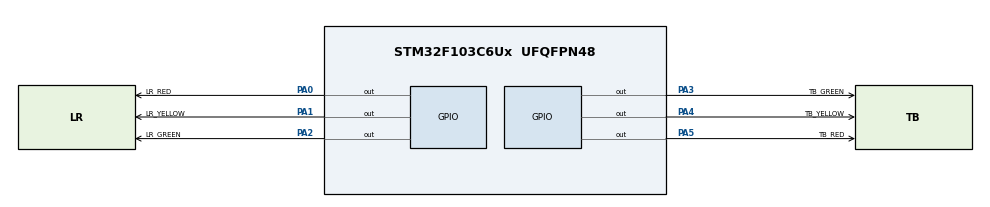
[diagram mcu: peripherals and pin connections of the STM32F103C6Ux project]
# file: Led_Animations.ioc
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Mcu.Family=STM32F1
Mcu.Name=STM32F103C6Ux
Mcu.Package=UFQFPN48
NVIC.PriorityGroup=NVIC_PRIORITYGROUP_4
PA0-WKUP.GPIO_Label=LR_RED
PA0-WKUP.Signal=GPIO_Output
PA1.GPIO_Label=LR_YELLOW
PA1.Signal=GPIO_Output
PA2.GPIO_Label=LR_GREEN
PA2.Signal=GPIO_Output
PA3.GPIO_Label=TB_GREEN
PA3.Signal=GPIO_Output
PA4.GPIO_Label=TB_YELLOW
PA4.Signal=GPIO_Output
PA5.GPIO_Label=TB_RED
PA5.Signal=GPIO_Output
ProjectManager.HeapSize=0x200
ProjectManager.StackSize=0x400
ProjectManager.TargetToolchain=STM32CubeIDE
RCC.APB1Freq_Value=8000000
RCC.APB2Freq_Value=8000000
VP_SYS_VS_ND.Mode=No_Debug
board=custom

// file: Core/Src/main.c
/* USER CODE BEGIN Header */
/**
  ******************************************************************************
  * @file           : main.c
  * @brief          : Main program body - Lab 01 Ex 3 (GPIOA Traffic Light)
  ******************************************************************************
  * @attention
  *
  * <h2><center>&copy; Copyright (c) 2026 STMicroelectronics.
  * All rights reserved.</center></h2>
  *
  ******************************************************************************
  */
/* USER CODE END Header */
#include "main.h"

void SystemClock_Config(void);
static void MX_GPIO_Init(void);

int main(void)
{
  /* MCU Configuration--------------------------------------------------------*/

  /* Reset of all peripherals, Initializes the Flash interface and the Systick. */
  HAL_Init();

  /* Configure the system clock */
  SystemClock_Config();

  /* Initialize all configured peripherals */
  MX_GPIO_Init();

  /* Infinite loop */
  /* USER CODE BEGIN WHILE */
  while (1)
  {
      /* --------------------------------------------------------------------
       * Pha 1: TRÁI/PHẢI XANH (PA2)  ---  TRÊN/DƯỚI ĐỎ (PA5) - (5 giây)
       * -------------------------------------------------------------------- */
      // Tắt hết cả 6 chân từ PA0 -> PA5
      HAL_GPIO_WritePin(GPIOA, GPIO_PIN_0 | GPIO_PIN_1 | GPIO_PIN_2 |
                               GPIO_PIN_3 | GPIO_PIN_4 | GPIO_PIN_5, GPIO_PIN_RESET);

      // Bật GREEN Trái/Phải (PA2) VÀ RED Trên/Dưới (PA5)
      HAL_GPIO_WritePin(GPIOA, GPIO_PIN_2 | GPIO_PIN_5, GPIO_PIN_SET);
      HAL_Delay(5000);

      /* --------------------------------------------------------------------
       * Pha 2: TRÁI/PHẢI VÀNG (PA1)  ---  TRÊN/DƯỚI ĐỎ (PA5) - (2 giây)
       * -------------------------------------------------------------------- */
      HAL_GPIO_WritePin(GPIOA, GPIO_PIN_0 | GPIO_PIN_1 | GPIO_PIN_2 |
                               GPIO_PIN_3 | GPIO_PIN_4 | GPIO_PIN_5, GPIO_PIN_RESET);

      // Bật YELLOW Trái/Phải (PA1) VÀ RED Trên/Dưới (PA5)
      HAL_GPIO_WritePin(GPIOA, GPIO_PIN_1 | GPIO_PIN_5, GPIO_PIN_SET);
      HAL_Delay(2000);

      /* --------------------------------------------------------------------
       * Pha 3: TRÁI/PHẢI ĐỎ (PA0)  ---  TRÊN/DƯỚI XANH (PA3) - (5 giây)
       * -------------------------------------------------------------------- */
      HAL_GPIO_WritePin(GPIOA, GPIO_PIN_0 | GPIO_PIN_1 | GPIO_PIN_2 |
                               GPIO_PIN_3 | GPIO_PIN_4 | GPIO_PIN_5, GPIO_PIN_RESET);

      // Bật RED Trái/Phải (PA0) VÀ GREEN Trên/Dưới (PA3)
      HAL_GPIO_WritePin(GPIOA, GPIO_PIN_0 | GPIO_PIN_3, GPIO_PIN_SET);
      HAL_Delay(5000);

      /* --------------------------------------------------------------------
       * Pha 4: TRÁI/PHẢI ĐỎ (PA0)  ---  TRÊN/DƯỚI VÀNG (PA4) - (2 giây)
       * -------------------------------------------------------------------- */
      HAL_GPIO_WritePin(GPIOA, GPIO_PIN_0 | GPIO_PIN_1 | GPIO_PIN_2 |
                               GPIO_PIN_3 | GPIO_PIN_4 | GPIO_PIN_5, GPIO_PIN_RESET);

      // Bật RED Trái/Phải (PA0) VÀ YELLOW Trên/Dưới (PA4)
      HAL_GPIO_WritePin(GPIOA, GPIO_PIN_0 | GPIO_PIN_4, GPIO_PIN_SET);
      HAL_Delay(2000);

    /* USER CODE END WHILE */

  }
}

void SystemClock_Config(void)
{
  RCC_OscInitTypeDef RCC_OscInitStruct = {0};
  RCC_ClkInitTypeDef RCC_ClkInitStruct = {0};

  RCC_OscInitStruct.OscillatorType = RCC_OSCILLATORTYPE_HSI;
  RCC_OscInitStruct.HSIState = RCC_HSI_ON;
  RCC_OscInitStruct.HSICalibrationValue = RCC_HSICALIBRATION_DEFAULT;
  RCC_OscInitStruct.PLL.PLLState = RCC_PLL_NONE;
  if (HAL_RCC_OscConfig(&RCC_OscInitStruct) != HAL_OK)
  {
    Error_Handler();
  }

  RCC_ClkInitStruct.ClockType = RCC_CLOCKTYPE_HCLK|RCC_CLOCKTYPE_SYSCLK
                              |RCC_CLOCKTYPE_PCLK1|RCC_CLOCKTYPE_PCLK2;
  RCC_ClkInitStruct.SYSCLKSource = RCC_SYSCLKSOURCE_HSI;
  RCC_ClkInitStruct.AHBCLKDivider = RCC_SYSCLK_DIV1;
  RCC_ClkInitStruct.APB1CLKDivider = RCC_HCLK_DIV1;
  RCC_ClkInitStruct.APB2CLKDivider = RCC_HCLK_DIV1;

  if (HAL_RCC_ClockConfig(&RCC_ClkInitStruct, FLASH_LATENCY_0) != HAL_OK)
  {
    Error_Handler();
  }
}

static void MX_GPIO_Init(void)
{
  GPIO_InitTypeDef GPIO_InitStruct = {0};

  /* GPIO Ports Clock Enable */
  __HAL_RCC_GPIOA_CLK_ENABLE();

  /* Configure GPIO pin Output Level */
  HAL_GPIO_WritePin(GPIOA, GPIO_PIN_0|GPIO_PIN_1|GPIO_PIN_2
                          |GPIO_PIN_3|GPIO_PIN_4|GPIO_PIN_5, GPIO_PIN_RESET);

  /* Configure GPIO pins : PA0 -> PA5 */
  GPIO_InitStruct.Pin = GPIO_PIN_0|GPIO_PIN_1|GPIO_PIN_2
                          |GPIO_PIN_3|GPIO_PIN_4|GPIO_PIN_5;
  GPIO_InitStruct.Mode = GPIO_MODE_OUTPUT_PP;
  GPIO_InitStruct.Pull = GPIO_NOPULL;
  GPIO_InitStruct.Speed = GPIO_SPEED_FREQ_LOW;
  HAL_GPIO_Init(GPIOA, &GPIO_InitStruct);
}

void Error_Handler(void)
{
  __disable_irq();
  while (1)
  {
  }
}

/************************ (C) COPYRIGHT STMicroelectronics *****END OF FILE****/
